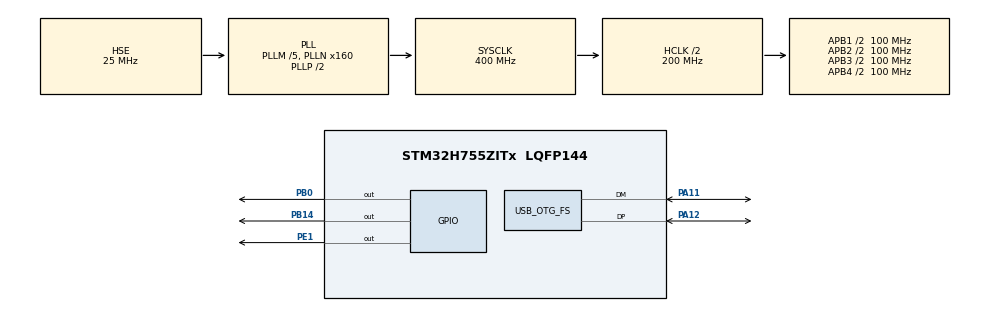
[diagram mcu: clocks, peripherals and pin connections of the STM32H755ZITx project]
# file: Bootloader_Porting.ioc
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CortexM4.IPs=BDMA,CORTEX_M4\:I,DMA,FATFS_M4\:I,FREERTOS_M4\:I,GPIO,IWDG2\:I,MDMA,NVIC2\:I,OPENAMP_M4\:I,PDM2PCM_M4\:I,PWR,RCC,RESMGR_UTILITY,SYS_M4\:I,USB_DEVICE_M4\:I,USB_HOST_M4\:I,VREFBUF,WWDG2\:I
CortexM7.IPs=BDMA\:I,CORTEX_M7\:I,DMA\:I,FATFS_M7\:I,FREERTOS_M7\:I,GPIO\:I,IWDG1\:I,MDMA\:I,NVIC1\:I,OPENAMP_M7\:I,PDM2PCM_M7\:I,PWR\:I,RCC\:I,RESMGR_UTILITY\:I,SYS\:I,USB_DEVICE_M7\:I,USB_HOST_M7\:I,VREFBUF\:I,WWDG1\:I,MEMORYMAP\:I,USB_OTG_FS\:I,CRC\:I
CortexM7.Pins=PB0,PB14,PE1
Mcu.Family=STM32H7
Mcu.Name=STM32H755ZITx
Mcu.Package=LQFP144
NVIC1.OTG_FS_IRQn=true\:0\:0\:false\:false\:true\:false\:true\:true
NVIC1.PriorityGroup=NVIC_PRIORITYGROUP_4
NVIC2.PriorityGroup=NVIC_PRIORITYGROUP_4
PA11.Mode=Device_Only
PA11.PinAttribute=CortexM7
PA11.Signal=USB_OTG_FS_DM
PA12.Mode=Device_Only
PA12.PinAttribute=CortexM7
PA12.Signal=USB_OTG_FS_DP
PB0.PinAttribute=CortexM7
PB0.Signal=GPIO_Output
PB14.PinAttribute=CortexM7
PB14.Signal=GPIO_Output
PE1.PinAttribute=CortexM7
PE1.Signal=GPIO_Output
PH0-OSC_IN\ (PH0).Mode=HSE-External-Oscillator
PH0-OSC_IN\ (PH0).PinAttribute=Free
PH0-OSC_IN\ (PH0).Signal=RCC_OSC_IN
PH1-OSC_OUT\ (PH1).Mode=HSE-External-Oscillator
PH1-OSC_OUT\ (PH1).PinAttribute=Free
PH1-OSC_OUT\ (PH1).Signal=RCC_OSC_OUT
ProjectManager.HeapSize=M4-0x200,M7-0x200
ProjectManager.StackSize=M4-0x400,M7-0x400
ProjectManager.TargetToolchain=STM32CubeIDE
RCC.ADCFreq_Value=50390625
RCC.APB1Freq_Value=100000000
RCC.APB2Freq_Value=100000000
RCC.APB3Freq_Value=100000000
RCC.APB4Freq_Value=100000000
RCC.CortexFreq_Value=400000000
RCC.D1PPRE=RCC_APB3_DIV2
RCC.D2PPRE1=RCC_APB1_DIV2
RCC.D2PPRE2=RCC_APB2_DIV2
RCC.D3PPRE=RCC_APB4_DIV2
RCC.DIVM1=5
RCC.DIVN1=160
RCC.DIVQ1=5
RCC.HCLKFreq_Value=200000000
RCC.HPRE=RCC_HCLK_DIV2
RCC.PLLFRACN=0
RCC.PLLSourceVirtual=RCC_PLLSOURCE_HSE
RCC.SYSCLKFreq_VALUE=400000000
RCC.SYSCLKSource=RCC_SYSCLKSOURCE_PLLCLK
RCC.USBCLockSelection=RCC_USBCLKSOURCE_HSI48
RCC.USBFreq_Value=48000000
SYS.userName=SYS_M7
USB_DEVICE_M7.CLASS_NAME_FS=CDC
USB_DEVICE_M7.VirtualMode-CDC_FS=Cdc
USB_DEVICE_M7.VirtualModeFS=Cdc_FS
USB_OTG_FS.VirtualMode=Device_Only
VP_CRC_VS_CRC.Mode=CRC_Activate
VP_MEMORYMAP_VS_MEMORYMAP.Mode=CurAppReg
VP_RCC_USB.Mode=USB_FS
VP_SYS_M4_VS_Systick.Mode=SysTick
VP_USB_DEVICE_M7_VS_USB_DEVICE_CDC_FS.Mode=CDC_FS
board=custom

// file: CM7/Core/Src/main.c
/* USER CODE BEGIN Header */
/**
  ******************************************************************************
  * @file           : main.c
  * @brief          : Main program body
  ******************************************************************************
  * @attention
  *
  * Copyright (c) 2025 STMicroelectronics.
  * All rights reserved.
  *
  * This software is licensed under terms that can be found in the LICENSE file
  * in the root directory of this software component.
  * If no LICENSE file comes with this software, it is provided AS-IS.
  *
  ******************************************************************************
  */
/* USER CODE END Header */
#include "main.h"
#include "usb_device.h"
#include "usbd_cdc_if.h"

/* USER CODE BEGIN Includes */
#include "bootloader.h"
/* USER CODE END Includes */

/* USER CODE BEGIN PD */

#ifndef HSEM_ID_0
#define HSEM_ID_0 (0U) /* HW semaphore 0*/
#endif

#define TIMEOUT 200

/* USER CODE END PD */

//CRC_HandleTypeDef hcrc;

void SystemClock_Config(void);
static void MX_GPIO_Init(void);
//static void MX_CRC_Init(void);
/* USER CODE BEGIN PFP */
void Launch_App(void);
void Flag_Update(void);
/* USER CODE END PFP */

int main(void)
{

/* USER CODE BEGIN Boot_Mode_Sequence_0 */
//  int32_t timeout;
/* USER CODE END Boot_Mode_Sequence_0 */

/* USER CODE BEGIN Boot_Mode_Sequence_1 */
  /* Wait until CPU2 boots and enters in stop mode or timeout*/
//  timeout = 0xFFFF;
//  while((__HAL_RCC_GET_FLAG(RCC_FLAG_D2CKRDY) != RESET) && (timeout-- > 0));
//  if ( timeout < 0 )
//  {
//  Error_Handler();
//  }
/* USER CODE END Boot_Mode_Sequence_1 */
  /* MCU Configuration--------------------------------------------------------*/

  /* Reset of all peripherals, Initializes the Flash interface and the Systick. */
  HAL_Init();

  /* Configure the system clock */
  SystemClock_Config();
/* USER CODE BEGIN Boot_Mode_Sequence_2 */

/* When system initialization is finished, Cortex-M7 will release Cortex-M4 by means of
HSEM notification */
/*HW semaphore Clock enable*/

//__HAL_RCC_HSEM_CLK_ENABLE();
///*Take HSEM */
//HAL_HSEM_FastTake(HSEM_ID_0);
///*Release HSEM in order to notify the CPU2(CM4)*/
//HAL_HSEM_Release(HSEM_ID_0,0);
///* wait until CPU2 wakes up from stop mode */
//timeout = 0xFFFF;
//while((__HAL_RCC_GET_FLAG(RCC_FLAG_D2CKRDY) == RESET) && (timeout-- > 0));
//if ( timeout < 0 )
//{
//Error_Handler();
//}

/* USER CODE END Boot_Mode_Sequence_2 */

  /* Initialize all configured peripherals */
  MX_GPIO_Init();
  MX_USB_DEVICE_Init();
  Bootloader_CRC_Init();
  //MX_CRC_Init();
  /* USER CODE BEGIN 2 */
  #if(CLEAR_RESET_FLAGS)
	/* Clear system reset flags */
	__HAL_RCC_C1_CLEAR_RESET_FLAGS();
	//print("Reset flags cleared.");
  #endif
  uint32_t mess;

  mess = 0x00000000;
  CDC_Transmit_FS((uint8_t*)&mess, 4);
  LED_All_On();
  HAL_Delay(600);
  LED_All_Off();
  HAL_Delay(600);

  uint8_t n = 0;

  while ((firmware_receiving == 0) && (n<3)){
	  if(n==0){
		  LD1_Green_On();
	  }
	  if(n==1){
		  LD2_Yellow_On();
	  }
	  if(n==2){
		  LD3_Red_On();
	  }
	  n++;
	  HAL_Delay(1000);
  }

  if(firmware_receiving == 0){
	  if(Bootloader_CheckForApplication() == BL_OK){
		  mess = 0x02000000;
		  CDC_Transmit_FS((uint8_t*)&mess, 4);
		  Launch_App();
	  }else{
		  mess = 0x04000000;
		  CDC_Transmit_FS((uint8_t*)&mess, 4);
	  }
  }

  /* USER CODE END 2 */

  /* Infinite loop */
  /* USER CODE BEGIN WHILE */
  while (1)
  {
	/* USER CODE BEGIN 3 */
	  if(firmware_receiving == 1){
		  if(((HAL_GetTick() - last_receive_time) > TIMEOUT) && (ack_send == 1)){
			  mess = 0x03000000;
			  CDC_Transmit_FS((uint8_t*)&mess, 4);
			  Flag_Update();
			  check_res = 0;
			  firmware_receiving = 0;
			  Launch_App();
		  }
	  }else{
//		  mess = 0x01000000;
//		  CDC_Transmit_FS((uint8_t*)&mess, 4);
		  LED_All_Off();
		  HAL_Delay(300);
		  LED_All_On();
		  HAL_Delay(300);
	  }

	/* USER CODE END 3 */
  }
	/* USER CODE END WHILE */
}
void SystemClock_Config(void)
{
  RCC_OscInitTypeDef RCC_OscInitStruct = {0};
  RCC_ClkInitTypeDef RCC_ClkInitStruct = {0};
  RCC_CRSInitTypeDef RCC_CRSInitStruct = {0};

  /** Supply configuration update enable
  */
  HAL_PWREx_ConfigSupply(PWR_DIRECT_SMPS_SUPPLY);

  /** Configure the main internal regulator output voltage
  */
  __HAL_PWR_VOLTAGESCALING_CONFIG(PWR_REGULATOR_VOLTAGE_SCALE1);

  while(!__HAL_PWR_GET_FLAG(PWR_FLAG_VOSRDY)) {}

  /** Initializes the RCC Oscillators according to the specified parameters
  * in the RCC_OscInitTypeDef structure.
  */
  RCC_OscInitStruct.OscillatorType = RCC_OSCILLATORTYPE_HSI48|RCC_OSCILLATORTYPE_HSE;
  RCC_OscInitStruct.HSEState = RCC_HSE_ON;
  RCC_OscInitStruct.HSI48State = RCC_HSI48_ON;
  RCC_OscInitStruct.PLL.PLLState = RCC_PLL_ON;
  RCC_OscInitStruct.PLL.PLLSource = RCC_PLLSOURCE_HSE;
  RCC_OscInitStruct.PLL.PLLM = 5;
  RCC_OscInitStruct.PLL.PLLN = 160;
  RCC_OscInitStruct.PLL.PLLP = 2;
  RCC_OscInitStruct.PLL.PLLQ = 5;
  RCC_OscInitStruct.PLL.PLLR = 2;
  RCC_OscInitStruct.PLL.PLLRGE = RCC_PLL1VCIRANGE_2;
  RCC_OscInitStruct.PLL.PLLVCOSEL = RCC_PLL1VCOWIDE;
  RCC_OscInitStruct.PLL.PLLFRACN = 0;
  if (HAL_RCC_OscConfig(&RCC_OscInitStruct) != HAL_OK)
  {
    Error_Handler();
  }

  /** Initializes the CPU, AHB and APB buses clocks
  */
  RCC_ClkInitStruct.ClockType = RCC_CLOCKTYPE_HCLK|RCC_CLOCKTYPE_SYSCLK
                              |RCC_CLOCKTYPE_PCLK1|RCC_CLOCKTYPE_PCLK2
                              |RCC_CLOCKTYPE_D3PCLK1|RCC_CLOCKTYPE_D1PCLK1;
  RCC_ClkInitStruct.SYSCLKSource = RCC_SYSCLKSOURCE_PLLCLK;
  RCC_ClkInitStruct.SYSCLKDivider = RCC_SYSCLK_DIV1;
  RCC_ClkInitStruct.AHBCLKDivider = RCC_HCLK_DIV2;
  RCC_ClkInitStruct.APB3CLKDivider = RCC_APB3_DIV2;
  RCC_ClkInitStruct.APB1CLKDivider = RCC_APB1_DIV2;
  RCC_ClkInitStruct.APB2CLKDivider = RCC_APB2_DIV2;
  RCC_ClkInitStruct.APB4CLKDivider = RCC_APB4_DIV2;

  if (HAL_RCC_ClockConfig(&RCC_ClkInitStruct, FLASH_LATENCY_2) != HAL_OK)
  {
	  Error_Handler();
  }

  /** Enable the SYSCFG APB clock
  */
  __HAL_RCC_CRS_CLK_ENABLE();

  /** Configures CRS
  */
  RCC_CRSInitStruct.Prescaler = RCC_CRS_SYNC_DIV1;
  RCC_CRSInitStruct.Source = RCC_CRS_SYNC_SOURCE_USB2;
  RCC_CRSInitStruct.Polarity = RCC_CRS_SYNC_POLARITY_RISING;
  RCC_CRSInitStruct.ReloadValue = __HAL_RCC_CRS_RELOADVALUE_CALCULATE(48000000,1000);
  RCC_CRSInitStruct.ErrorLimitValue = 34;
  RCC_CRSInitStruct.HSI48CalibrationValue = 32;

  HAL_RCCEx_CRSConfig(&RCC_CRSInitStruct);
}

//static void MX_CRC_Init(void)
//{
//
//  /* USER CODE BEGIN CRC_Init 0 */
//
//  /* USER CODE END CRC_Init 0 */
//
//  /* USER CODE BEGIN CRC_Init 1 */
//
//  /* USER CODE END CRC_Init 1 */
//  hcrc.Instance = CRC;
//  hcrc.Init.DefaultPolynomialUse = DEFAULT_POLYNOMIAL_ENABLE;
//  hcrc.Init.DefaultInitValueUse = DEFAULT_INIT_VALUE_ENABLE;
//  hcrc.Init.InputDataInversionMode = CRC_INPUTDATA_INVERSION_NONE;
//  hcrc.Init.OutputDataInversionMode = CRC_OUTPUTDATA_INVERSION_DISABLE;
//  hcrc.InputDataFormat = CRC_INPUTDATA_FORMAT_BYTES;
//  if (HAL_CRC_Init(&hcrc) != HAL_OK)
//  {
//    Error_Handler();
//  }
//  /* USER CODE BEGIN CRC_Init 2 */
//
//  /* USER CODE END CRC_Init 2 */
//
//}

static void MX_GPIO_Init(void)
{
  GPIO_InitTypeDef GPIO_InitStruct = {0};

  /* GPIO Ports Clock Enable */
  __HAL_RCC_GPIOB_CLK_ENABLE();
  __HAL_RCC_GPIOA_CLK_ENABLE();
  __HAL_RCC_GPIOE_CLK_ENABLE();

  /*Configure GPIO pin Output Level */
  HAL_GPIO_WritePin(GPIOB, GPIO_PIN_0|GPIO_PIN_14, GPIO_PIN_RESET);

  /*Configure GPIO pin Output Level */
  HAL_GPIO_WritePin(GPIOE, GPIO_PIN_1, GPIO_PIN_RESET);

  /*Configure GPIO pins : PB0 PB14 */
  GPIO_InitStruct.Pin = GPIO_PIN_0|GPIO_PIN_14;
  GPIO_InitStruct.Mode = GPIO_MODE_OUTPUT_PP;
  GPIO_InitStruct.Pull = GPIO_NOPULL;
  GPIO_InitStruct.Speed = GPIO_SPEED_FREQ_LOW;
  HAL_GPIO_Init(GPIOB, &GPIO_InitStruct);

  /*Configure GPIO pin : PE1 */
  GPIO_InitStruct.Pin = GPIO_PIN_1;
  GPIO_InitStruct.Mode = GPIO_MODE_OUTPUT_PP;
  GPIO_InitStruct.Pull = GPIO_NOPULL;
  GPIO_InitStruct.Speed = GPIO_SPEED_FREQ_LOW;
  HAL_GPIO_Init(GPIOE, &GPIO_InitStruct);

}

void Flag_Update(){

	if(Flash_ReadFlag() == 0xFFFFFFFF){
		if(Flash_WriteFlag(0x00000001) != BL_OK){
			Bootloader_Error_Handler();
		  }
	}else if(Flash_ReadFlag() == 0x00000001){
		if(Flash_WriteFlag(0x00000000) != BL_OK){
			Bootloader_Error_Handler();
		}
	}
}

void Launch_App(){
	#if(USE_CHECKSUM)
		if(Bootloader_CheckSum() != BL_OK){
			if(Flash_ReadFlag() == 0x00000001){
				Bootloader_Erase(FLASH_BANK_1, FLASH_SECTOR_1, 7);
				Bootloader_Erase(FLASH_BANK_2, FLASH_SECTOR_7, 1);
				return;
			}else{
				Bootloader_PreviousVersion();
			}
		}
	#endif

	Bootloader_JumpToApplication();
}

void Error_Handler(void)
{
  /* USER CODE BEGIN Error_Handler_Debug */
  /* User can add his own implementation to report the HAL error return state */
  __disable_irq();
  LED_All_Off();
  LD3_Red_On();
  while (1)
  {

  }
  /* USER CODE END Error_Handler_Debug */
}
